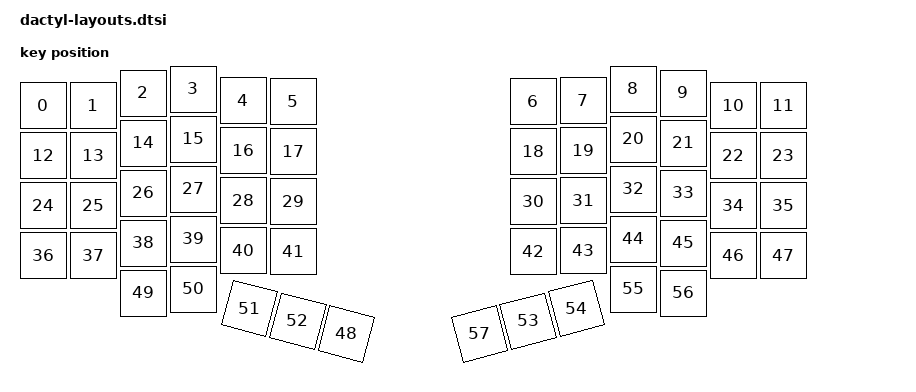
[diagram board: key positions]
#include <physical_layouts.dtsi>

/ {
    physical_layout: physical_layout_0 {
        compatible = "zmk,physical-layout";
        display-name = "dactyl";

        // kscan = <&kscan0>;
        // transform = <&matrix_transform0>;

        studio-config {
        compatible = "zmk,studio-config";
        };

        keys  //                     w   h    x    y     rot    rx    ry
            = <&key_physical_attrs 100 100    0   33       0     0     0>
            , <&key_physical_attrs 100 100  100   33       0     0     0>
            , <&key_physical_attrs 100 100  200    8       0     0     0>
            , <&key_physical_attrs 100 100  300    0       0     0     0>
            , <&key_physical_attrs 100 100  400   23       0     0     0>
            , <&key_physical_attrs 100 100  500   25       0     0     0>
            , <&key_physical_attrs 100 100  980   25       0     0     0>
            , <&key_physical_attrs 100 100 1080   23       0     0     0>
            , <&key_physical_attrs 100 100 1180    0       0     0     0>
            , <&key_physical_attrs 100 100 1280    8       0     0     0>
            , <&key_physical_attrs 100 100 1380   33       0     0     0>
            , <&key_physical_attrs 100 100 1480   33       0     0     0>
            , <&key_physical_attrs 100 100    0  133       0     0     0>
            , <&key_physical_attrs 100 100  100  133       0     0     0>
            , <&key_physical_attrs 100 100  200  108       0     0     0>
            , <&key_physical_attrs 100 100  300  100       0     0     0>
            , <&key_physical_attrs 100 100  400  123       0     0     0>
            , <&key_physical_attrs 100 100  500  125       0     0     0>
            , <&key_physical_attrs 100 100  980  125       0     0     0>
            , <&key_physical_attrs 100 100 1080  123       0     0     0>
            , <&key_physical_attrs 100 100 1180  100       0     0     0>
            , <&key_physical_attrs 100 100 1280  108       0     0     0>
            , <&key_physical_attrs 100 100 1380  133       0     0     0>
            , <&key_physical_attrs 100 100 1480  133       0     0     0>
            , <&key_physical_attrs 100 100    0  233       0     0     0>
            , <&key_physical_attrs 100 100  100  233       0     0     0>
            , <&key_physical_attrs 100 100  200  208       0     0     0>
            , <&key_physical_attrs 100 100  300  200       0     0     0>
            , <&key_physical_attrs 100 100  400  223       0     0     0>
            , <&key_physical_attrs 100 100  500  225       0     0     0>
            , <&key_physical_attrs 100 100  980  225       0     0     0>
            , <&key_physical_attrs 100 100 1080  223       0     0     0>
            , <&key_physical_attrs 100 100 1180  200       0     0     0>
            , <&key_physical_attrs 100 100 1280  208       0     0     0>
            , <&key_physical_attrs 100 100 1380  233       0     0     0>
            , <&key_physical_attrs 100 100 1480  233       0     0     0>
            , <&key_physical_attrs 100 100    0  333       0     0     0>
            , <&key_physical_attrs 100 100  100  333       0     0     0>
            , <&key_physical_attrs 100 100  200  308       0     0     0>
            , <&key_physical_attrs 100 100  300  300       0     0     0>
            , <&key_physical_attrs 100 100  400  323       0     0     0>
            , <&key_physical_attrs 100 100  500  325       0     0     0>
            , <&key_physical_attrs 100 100  980  325       0     0     0>
            , <&key_physical_attrs 100 100 1080  323       0     0     0>
            , <&key_physical_attrs 100 100 1180  300       0     0     0>
            , <&key_physical_attrs 100 100 1280  308       0     0     0>
            , <&key_physical_attrs 100 100 1380  333       0     0     0>
            , <&key_physical_attrs 100 100 1480  333       0     0     0>
            , <&key_physical_attrs 100 100  730  288    1500 (-50) (-30)>
            , <&key_physical_attrs 100 100  200  408       0     0     0>
            , <&key_physical_attrs 100 100  300  400       0     0     0>
            , <&key_physical_attrs 100 100  530  288    1500 (-50) (-30)>
            , <&key_physical_attrs 100 100  630  288    1500 (-50) (-30)>
            , <&key_physical_attrs 100 100  850  288 (-1500)  1630 (-30)>
            , <&key_physical_attrs 100 100  950  288 (-1500)  1630 (-30)>
            , <&key_physical_attrs 100 100 1180  400       0     0     0>
            , <&key_physical_attrs 100 100 1280  408       0     0     0>
            , <&key_physical_attrs 100 100  750  288 (-1500)  1630 (-30)>
            ;
    };
};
